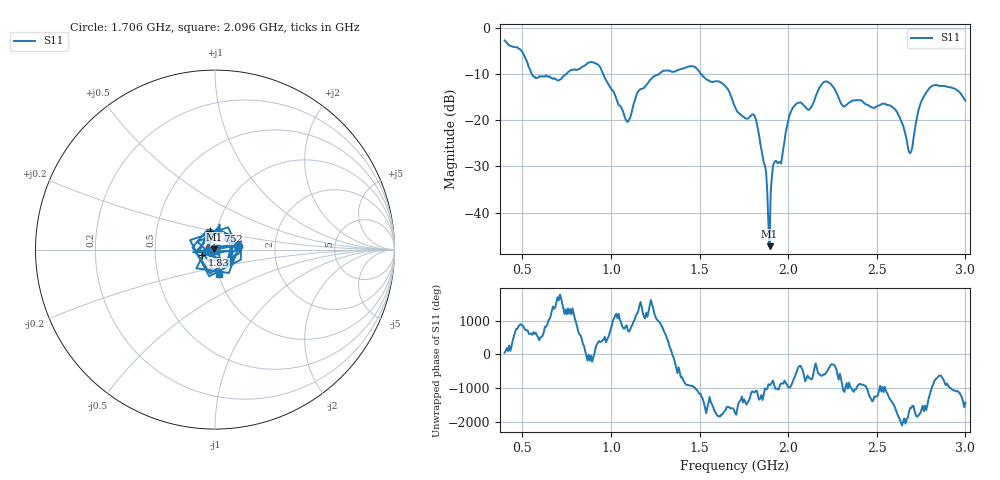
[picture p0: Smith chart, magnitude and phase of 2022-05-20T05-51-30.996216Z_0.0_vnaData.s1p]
!Created with skrf (http://scikit-rf.org).
# Hz S RI R 50.0
!freq ReS11 ImS11
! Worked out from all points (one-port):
!   401 points, 400 MHz to 3 GHz, reference 50 ohm
!   lowest |S11| = -47.3 dB at 1.895 GHz (marker M1), VSWR 1.01, Z = 49.6 + j0.0965 ohm
!   |S11| at or under -10 dB: 553.3 MHz to 749.5 MHz (196.3 MHz wide, 30.1 % of centre); 954.9 MHz to 1.273 GHz (317.8 MHz wide, 28.5 % of centre); 1.507 GHz to end of sweep
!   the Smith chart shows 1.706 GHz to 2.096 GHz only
!   S11 on the Smith chart (normalised r, x): 1.706 GHz: 1.29, +0.06; 1.752 GHz: 0.93, +0.20; 1.83 GHz: 0.86, -0.05; 2.096 GHz: 1.01, -0.28
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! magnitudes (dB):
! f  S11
! 400 MHz  -2.8
! 491 MHz  -4.9
! 569 MHz  -10.6
! 725 MHz  -10.8
! 913.5 MHz  -7.8
! 1.05 GHz  -16.9
! 1.095 GHz  -20.4
! 1.161 GHz  -13.5
! 1.375 GHz  -9.2
! 1.622 GHz  -11.9
! 1.7 GHz  -17.1
! 1.706 GHz  -17.7
! 1.752 GHz  -19.4
! 1.804 GHz  -18.8
! 1.83 GHz  -22.1
! 1.895 GHz  -47.3
! 1.921 GHz  -29.3
! 1.96 GHz  -29.4
! 2.025 GHz  -17.4
! 2.096 GHz  -17.1
! 2.213 GHz  -11.7
! 2.35 GHz  -16.1
! 2.591 GHz  -17.3
! 2.675 GHz  -25.7
! 2.695 GHz  -26.8
! 2.747 GHz  -16.5
! 2.805 GHz  -12.9
! 3 GHz  -15.8
